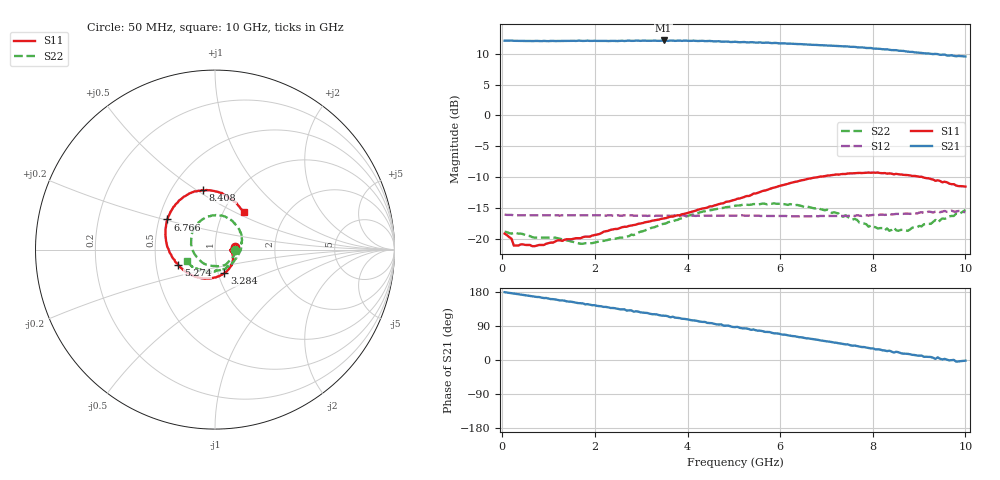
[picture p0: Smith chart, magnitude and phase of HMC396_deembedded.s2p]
!Hittite Microwave Corporation
!12 Elizabeth Drive
!Chelmsford, MA 01824
!Tel: 978-250-3343
!Fax: 978-250-3373
!Device: HMC396, DC-8 GHz InGaP HBT Gain Block MMIC Amplifier
!Misc: Vdd=+5V, Data includes (two) K connectors, Room
# MHZ S MA R 50
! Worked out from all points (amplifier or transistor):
!   201 points, 50 MHz to 10 GHz, reference 50 ohm
!   highest |S21| = 12.2 dB at 3.483 GHz (marker M1)
!   |S21| within 3 dB of that: start of sweep to end of sweep
!   unconditionally stable (mu >= 1): start of sweep to end of sweep
!   at 1.692 GHz: K = 1.10, MAG = 12.2 dB, |S12| = -16.2 dB
!   at 5.025 GHz: K = 1.06, MAG = 12.6 dB, |S12| = -16.2 dB
!   at 10 GHz: K = 1.13, MAG = 10.4 dB, |S12| = -15.7 dB
!   S11 on the Smith chart (normalised r, x): 50 MHz: 1.24, +0.04; 3.284 GHz: 1.07, -0.29; 5.274 GHz: 0.65, -0.12; 6.766 GHz: 0.55, +0.21; 8.408 GHz: 0.71, +0.53; 10 GHz: 1.24, +0.56
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50  0.11 8.2  4.043 179.0  0.157 0.2  0.114 -2.1
1741.5  0.103 -11.8  4.022 149.4  0.155 -9.8  0.091 -92.8
2686.75  0.125 -43.8  4.029 130.4  0.154 -14.9  0.104 -146.5
3283.75  0.141 -68.1  4.049 120.7  0.153 -19.2  0.124 -177.4
3383.25  0.143 -71.3  4.031 118.5  0.154 -20.5  0.128 177.8
3482.75  0.146 -76.6  4.059 116.8  0.153 -21.1  0.132 172.5
4328.5  0.176 -114.7  4.033 100.5  0.153 -25.3  0.166 135.9
5025  0.207 -145.2  3.962 86.8  0.154 -30.6  0.185 108.4
5273.75  0.222 -156.7  3.921 83.1  0.154 -30.7  0.189 99.9
5870.75  0.26 178.9  3.873 70.4  0.153 -34.3  0.194 79.2
6716.5  0.312 149.4  3.739 54.7  0.153 -38.7  0.177 45.0
6766.25  0.314 147.7  3.736 53.8  0.153 -38.9  0.176 43.4
7562.25  0.339 124.0  3.601 37.8  0.154 -42.4  0.143 1.1
8358.25  0.339 102.1  3.415 24.6  0.159 -44.5  0.116 -54.2
8408  0.337 101.3  3.389 21.9  0.157 -45.4  0.118 -57.3
9253.75  0.305 76.5  3.163 7.9  0.165 -50.8  0.132 -113.5
9353.25  0.295 74.3  3.157 3.1  0.166 -56.3  0.142 -122.8
9403  0.298 71.5  3.145 6.9  0.167 -49.9  0.136 -126.7
9502.5  0.287 68.2  3.114 1.3  0.166 -57.8  0.146 -126.5
9751.25  0.277 61.5  3.045 0.3  0.166 -53.6  0.153 -141.4
9801  0.27 58.1  3.02 -4.3  0.166 -57.5  0.16 -144.7
10000  0.265 52.6  3.008 -1.8  0.164 -52.3  0.171 -158.0
